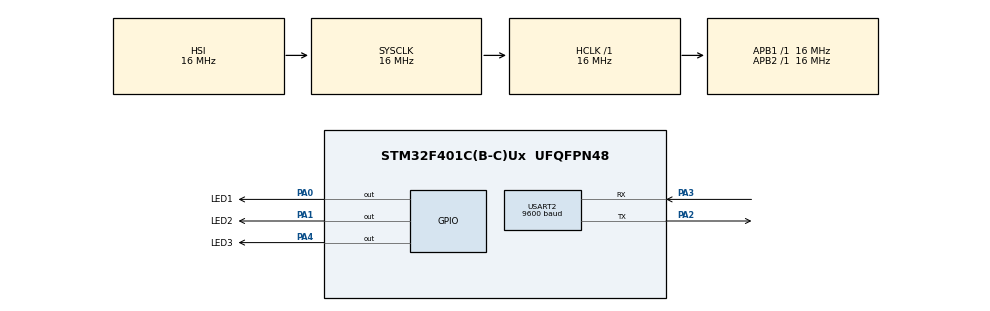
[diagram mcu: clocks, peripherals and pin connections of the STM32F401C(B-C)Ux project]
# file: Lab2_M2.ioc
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Mcu.Family=STM32F4
Mcu.Name=STM32F401C(B-C)Ux
Mcu.Package=UFQFPN48
NVIC.PriorityGroup=NVIC_PRIORITYGROUP_4
NVIC.USART2_IRQn=true\:5\:0\:true\:false\:true\:true\:true\:true
PA0-WKUP.GPIO_Label=LED1
PA0-WKUP.Signal=GPIO_Output
PA1.GPIO_Label=LED2
PA1.Signal=GPIO_Output
PA13.Mode=Serial_Wire
PA13.Signal=SYS_JTMS-SWDIO
PA14.Mode=Serial_Wire
PA14.Signal=SYS_JTCK-SWCLK
PA2.Mode=Asynchronous
PA2.Signal=USART2_TX
PA3.Mode=Asynchronous
PA3.Signal=USART2_RX
PA4.GPIO_Label=LED3
PA4.Signal=GPIO_Output
ProjectManager.HeapSize=0x200
ProjectManager.StackSize=0x400
ProjectManager.TargetToolchain=STM32CubeIDE
RCC.AHBFreq_Value=16000000
RCC.APB1Freq_Value=16000000
RCC.APB2Freq_Value=16000000
RCC.CortexFreq_Value=16000000
RCC.HSE_VALUE=25000000
RCC.HSI_VALUE=16000000
RCC.LSE_VALUE=32768
RCC.SYSCLKFreq_VALUE=16000000
RCC.VCOOutputFreq_Value=192000000
USART2.BaudRate=9600
USART2.VirtualMode=VM_ASYNC
board=custom

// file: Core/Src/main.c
/* USER CODE BEGIN Header */
/**
  ******************************************************************************
  * @file           : main.c
  * @brief          : Main program body
  ******************************************************************************
  * @attention
  *
  * Copyright (c) 2023 STMicroelectronics.
  * All rights reserved.
  *
  * This software is licensed under terms that can be found in the LICENSE file
  * in the root directory of this software component.
  * If no LICENSE file comes with this software, it is provided AS-IS.
  *
  ******************************************************************************
  */
/* USER CODE END Header */
#include "main.h"

UART_HandleTypeDef huart2;

/* USER CODE BEGIN PV */
uint8_t rx2[1] = { '\0' };
uint8_t tx2[1] = { '\0' };

uint8_t data[3] = {0};
int data_index = 0;
/* USER CODE END PV */

void SystemClock_Config(void);
static void MX_GPIO_Init(void);
static void MX_USART2_UART_Init(void);

int main(void)
{

  /* MCU Configuration--------------------------------------------------------*/

  /* Reset of all peripherals, Initializes the Flash interface and the Systick. */
  HAL_Init();

  /* Configure the system clock */
  SystemClock_Config();

  /* Initialize all configured peripherals */
  MX_GPIO_Init();
  MX_USART2_UART_Init();

  /* Infinite loop */
  /* USER CODE BEGIN WHILE */

  uint8_t msg[] = "Ready to work:\n\r";

  HAL_UART_Transmit(&huart2, msg, sizeof(msg), 1000);
  while (1)
  {

    /* USER CODE END WHILE */

    /* USER CODE BEGIN 3 */
	 HAL_Delay(200);
	 if(huart2.RxState == HAL_UART_STATE_READY) {
		 HAL_UART_Receive_IT(&huart2, rx2, sizeof(rx2));
	 }
  }
  /* USER CODE END 3 */
}

void SystemClock_Config(void)
{
  RCC_OscInitTypeDef RCC_OscInitStruct = {0};
  RCC_ClkInitTypeDef RCC_ClkInitStruct = {0};

  /** Configure the main internal regulator output voltage
  */
  __HAL_RCC_PWR_CLK_ENABLE();
  __HAL_PWR_VOLTAGESCALING_CONFIG(PWR_REGULATOR_VOLTAGE_SCALE2);

  /** Initializes the RCC Oscillators according to the specified parameters
  * in the RCC_OscInitTypeDef structure.
  */
  RCC_OscInitStruct.OscillatorType = RCC_OSCILLATORTYPE_HSI;
  RCC_OscInitStruct.HSIState = RCC_HSI_ON;
  RCC_OscInitStruct.HSICalibrationValue = RCC_HSICALIBRATION_DEFAULT;
  RCC_OscInitStruct.PLL.PLLState = RCC_PLL_NONE;
  if (HAL_RCC_OscConfig(&RCC_OscInitStruct) != HAL_OK)
  {
    Error_Handler();
  }

  /** Initializes the CPU, AHB and APB buses clocks
  */
  RCC_ClkInitStruct.ClockType = RCC_CLOCKTYPE_HCLK|RCC_CLOCKTYPE_SYSCLK
                              |RCC_CLOCKTYPE_PCLK1|RCC_CLOCKTYPE_PCLK2;
  RCC_ClkInitStruct.SYSCLKSource = RCC_SYSCLKSOURCE_HSI;
  RCC_ClkInitStruct.AHBCLKDivider = RCC_SYSCLK_DIV1;
  RCC_ClkInitStruct.APB1CLKDivider = RCC_HCLK_DIV1;
  RCC_ClkInitStruct.APB2CLKDivider = RCC_HCLK_DIV1;

  if (HAL_RCC_ClockConfig(&RCC_ClkInitStruct, FLASH_LATENCY_0) != HAL_OK)
  {
    Error_Handler();
  }
}

static void MX_USART2_UART_Init(void)
{

  huart2.Instance = USART2;
  huart2.Init.BaudRate = 9600;
  huart2.Init.WordLength = UART_WORDLENGTH_8B;
  huart2.Init.StopBits = UART_STOPBITS_1;
  huart2.Init.Parity = UART_PARITY_NONE;
  huart2.Init.Mode = UART_MODE_TX_RX;
  huart2.Init.HwFlowCtl = UART_HWCONTROL_NONE;
  huart2.Init.OverSampling = UART_OVERSAMPLING_16;
  if (HAL_UART_Init(&huart2) != HAL_OK)
  {
    Error_Handler();
  }

}

static void MX_GPIO_Init(void)
{
  GPIO_InitTypeDef GPIO_InitStruct = {0};

  /* GPIO Ports Clock Enable */
  __HAL_RCC_GPIOA_CLK_ENABLE();

  /*Configure GPIO pin Output Level */
  HAL_GPIO_WritePin(GPIOA, LED1_Pin|LED2_Pin|LED3_Pin, GPIO_PIN_RESET);

  /*Configure GPIO pins : LED1_Pin LED2_Pin LED3_Pin */
  GPIO_InitStruct.Pin = LED1_Pin|LED2_Pin|LED3_Pin;
  GPIO_InitStruct.Mode = GPIO_MODE_OUTPUT_PP;
  GPIO_InitStruct.Pull = GPIO_NOPULL;
  GPIO_InitStruct.Speed = GPIO_SPEED_FREQ_LOW;
  HAL_GPIO_Init(GPIOA, &GPIO_InitStruct);

}

/* USER CODE BEGIN 4 */
void HAL_UART_TxCpltCallback(UART_HandleTypeDef *huart) {
	if(huart == &huart2) {
		tx2[0] = '\0';
	}
}

void pin_set(GPIO_TypeDef* GPIOx, uint16_t GPIO_Pin) {
	HAL_GPIO_WritePin(GPIOx, GPIO_Pin, GPIO_PIN_SET);
}

void pin_reset(GPIO_TypeDef* GPIOx, uint16_t GPIO_Pin) {
	HAL_GPIO_WritePin(GPIOx, GPIO_Pin, GPIO_PIN_RESET);
}

void HAL_UART_RxCpltCallback(UART_HandleTypeDef *huart) {

	if (huart == &huart2) {
		tx2[0] = rx2[0];

		if (data_index < 3) {
			data[data_index] = rx2[0];
			data_index++;
		} else {
			data_index = 0;

			if (!strcmp((char*)data, "L1S")) {
				pin_set(LED1_GPIO_Port, LED1_Pin);
				HAL_UART_Transmit_IT(&huart2, (uint8_t *)"LED 1 start\n\r", sizeof("LED 1 start\n\r"));
			} else if (!strcmp((char*)data, "L1C")) {
				pin_reset(LED1_GPIO_Port, LED1_Pin);
				HAL_UART_Transmit_IT(&huart2, (uint8_t *)"LED 1 cancel\n\r", sizeof("LED 1 cancel\n\r"));
			} else if (!strcmp((char*)data, "L2S")) {
				pin_set(LED2_GPIO_Port, LED2_Pin);
				HAL_UART_Transmit_IT(&huart2, (uint8_t *)"LED 2 start\n\r", sizeof("LED 2 start\n\r"));
			} else if (!strcmp((char*)data, "L2C")) {
				pin_reset(LED2_GPIO_Port, LED2_Pin);
				HAL_UART_Transmit_IT(&huart2, (uint8_t *)"LED 2 cancel\n\r", sizeof("LED 2 cancel\n\r"));
			} else if (!strcmp((char*)data, "L3S")) {
			    pin_set(LED3_GPIO_Port, LED3_Pin);
			    HAL_UART_Transmit_IT(&huart2, (uint8_t *)"LED 3 start\n\r", sizeof("LED 3 start\n\r"));
			} else if (!strcmp((char*)data, "L3C")) {
			    pin_reset(LED3_GPIO_Port, LED3_Pin);
			    HAL_UART_Transmit_IT(&huart2, (uint8_t *)"LED 3 cancel\n\r", sizeof("LED 3 cancel\n\r"));
			} else {
				HAL_UART_Transmit_IT(&huart2, data, sizeof(data));
				HAL_UART_Transmit_IT(&huart2, (uint8_t *)"wrong command\n\r", sizeof("wrong command\n\r"));
			}
		}

		HAL_UART_Transmit_IT(&huart2, tx2, sizeof(tx2));
		HAL_UART_Receive_IT(&huart2, rx2, sizeof(rx2));
	}
}
/* USER CODE END 4 */

void Error_Handler(void)
{
  __disable_irq();
  while (1)
  {
  }
}
